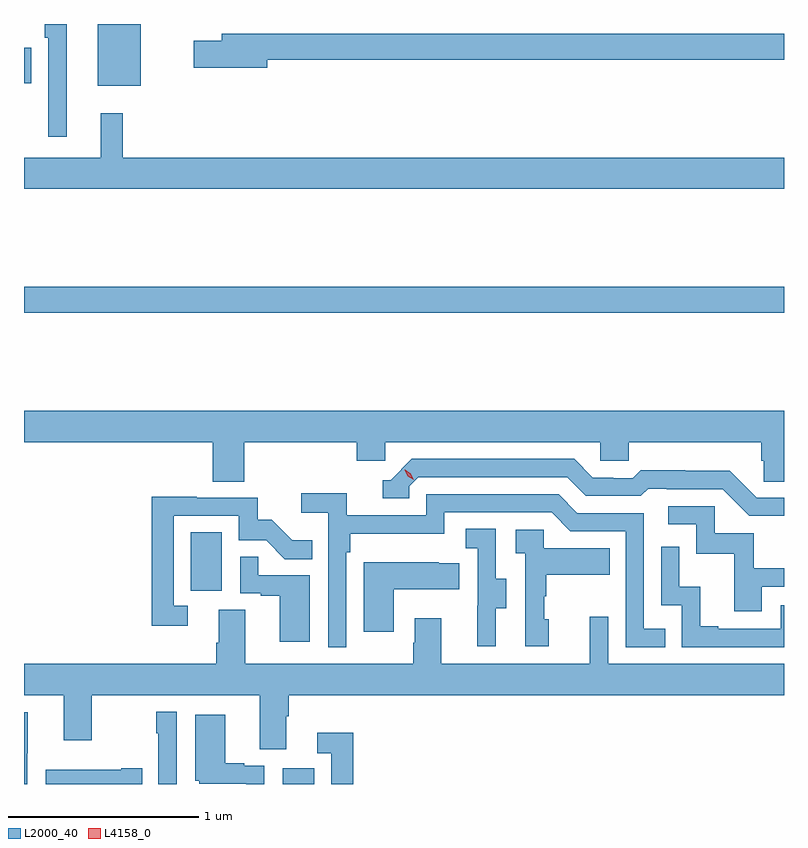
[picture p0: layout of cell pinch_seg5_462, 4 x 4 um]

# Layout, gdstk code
import gdstk
lib = gdstk.Library(unit=1e-6, precision=1e-09)
def R(c, l, rs):  # rectangles x0, y0, x1, y1
    for r in rs: c.add(gdstk.rectangle(r[:2], r[2:], *l))
def P(c, l, *ps):  # polygons
    for p in ps: c.add(gdstk.Polygon(p, *l))
L2000_40 = (2000, 40)
L4158_0 = (4158, 0)

pinch_seg5_462 = lib.new_cell('pinch_seg5_462')
R(pinch_seg5_462, L2000_40, [(902.402,856.292,902.566,856.375), (901.916,857.31,902.08,857.617), (901.039,858.772,905.039,858.908), (901.427,859.967,901.654,860.292), (901.039,859.979,901.078,860.167)])
P(pinch_seg5_462, L2000_40, [(901.264,860.292),(901.147,860.292),(901.147,860.219),(901.167,860.219),(901.167,859.698),(901.264,859.698)],
  [(902.32,860.104),(905.039,860.104),(905.039,860.24),(902.081,860.24),(902.081,860.204),(901.932,860.204),(901.932,860.062),(902.32,860.062)],
  [(905.039,859.588),(901.559,859.588),(901.559,859.822),(901.442,859.822),(901.442,859.588),(901.039,859.588),(901.039,859.424),(905.039,859.424)],
  [(902.198,858.092),(902.789,858.092),(902.789,857.994),(902.94,857.994),(902.94,858.092),(904.071,858.092),(904.071,857.994),(904.221,857.994),(904.221,858.092),(904.919,858.092),(904.919,857.994),(904.933,857.994),(904.933,857.884),(905.039,857.884),(905.039,858.256),(901.039,858.256),(901.039,858.092),(902.033,858.092),(902.033,857.884),(902.198,857.884)],
  [(905.039,857.799),(904.896,857.799),(904.754,857.941),(904.518,857.941),(904.518,857.944),(904.285,857.944),(904.243,857.901),(904.14,857.901),(904.14,857.904),(904.033,857.904),(903.934,858.003),(903.081,858.003),(902.97,857.892),(902.927,857.892),(902.927,857.796),(903.066,857.796),(903.066,857.859),(903.114,857.907),(903.897,857.907),(903.996,857.808),(904.285,857.808),(904.324,857.847),(904.423,857.847),(904.423,857.844),(904.716,857.844),(904.857,857.703),(905.039,857.703)],
  [(902.736,857.513),(902.756,857.513),(902.756,857.609),(903.252,857.609),(903.252,857.721),(903.816,857.721),(903.915,857.622),(904.206,857.622),(904.206,857.013),(904.415,857.013),(904.415,857.109),(904.302,857.109),(904.302,857.718),(903.952,857.718),(903.853,857.817),(903.156,857.817),(903.156,857.706),(902.738,857.706),(902.738,857.822),(902.499,857.822),(902.499,857.72),(902.64,857.72),(902.64,857.013),(902.736,857.013)],
  [(901.9,857.229),(901.827,857.229),(901.827,857.703),(902.169,857.703),(902.169,857.574),(902.313,857.574),(902.411,857.476),(902.555,857.476),(902.555,857.575),(902.451,857.575),(902.344,857.682),(902.268,857.682),(902.268,857.799),(901.949,857.799),(901.949,857.804),(901.711,857.804),(901.711,857.124),(901.9,857.124)],
  [(904.921,857.331),(905.039,857.331),(905.039,857.427),(904.879,857.427),(904.879,857.613),(904.674,857.613),(904.674,857.754),(904.431,857.754),(904.431,857.658),(904.578,857.658),(904.578,857.505),(904.777,857.505),(904.777,857.202),(904.921,857.202)],
  [(903.523,857.218),(903.577,857.218),(903.577,857.373),(903.522,857.373),(903.522,857.636),(903.363,857.636),(903.363,857.533),(903.426,857.533),(903.426,857.229),(903.425,857.229),(903.425,857.016),(903.523,857.016)],
  [(903.802,857.16),(903.777,857.16),(903.777,857.279),(903.787,857.279),(903.787,857.393),(904.121,857.393),(904.121,857.533),(903.774,857.533),(903.774,857.631),(903.627,857.631),(903.627,857.507),(903.678,857.507),(903.678,857.016),(903.802,857.016)],
  [(905.039,857.232),(905.022,857.232),(905.022,857.109),(904.693,857.109),(904.693,857.122),(904.598,857.122),(904.598,857.33),(904.488,857.33),(904.488,857.542),(904.392,857.542),(904.392,857.232),(904.5,857.232),(904.5,857.013),(905.039,857.013)],
  [(902.542,857.391),(902.273,857.391),(902.273,857.489),(902.178,857.489),(902.178,857.295),(902.285,857.295),(902.285,857.283),(902.384,857.283),(902.384,857.04),(902.542,857.04)],
  [(902.986,857.318),(903.329,857.318),(903.329,857.455),(903.221,857.455),(903.221,857.458),(902.828,857.458),(902.828,857.094),(902.986,857.094)],
  [(902.419,856.648),(902.432,856.648),(902.432,856.76),(905.039,856.76),(905.039,856.924),(904.113,856.924),(904.113,857.173),(904.016,857.173),(904.016,856.924),(903.235,856.924),(903.235,857.164),(903.095,857.164),(903.095,857.036),(903.088,857.036),(903.088,856.924),(902.203,856.924),(902.203,857.21),(902.063,857.21),(902.063,857.036),(902.051,857.036),(902.051,856.924),(901.039,856.924),(901.039,856.76),(901.247,856.76),(901.247,856.521),(901.395,856.521),(901.395,856.76),(902.279,856.76),(902.279,856.474),(902.419,856.474)],
  [(901.842,856.672),(901.734,856.672),(901.734,856.559),(901.746,856.559),(901.746,856.292),(901.842,856.292)],
  [(901.056,856.455),(901.058,856.455),(901.058,856.669),(901.039,856.669),(901.039,856.292),(901.056,856.292)],
  [(902.304,856.389),(902.198,856.389),(902.198,856.402),(902.098,856.402),(902.098,856.657),(901.94,856.657),(901.94,856.308),(901.962,856.308),(901.962,856.293),(902.209,856.293),(902.209,856.292),(902.304,856.292)],
  [(902.771,856.561),(902.583,856.561),(902.583,856.455),(902.655,856.455),(902.655,856.292),(902.771,856.292)],
  [(901.661,856.374),(901.55,856.374),(901.55,856.366),(901.153,856.366),(901.153,856.292),(901.661,856.292)])
P(pinch_seg5_462, L4158_0, [(903.09,857.893),(903.06,857.913),(903.044,857.946),(903.044,857.947),(903.045,857.947),(903.075,857.926),(903.09,857.893),(903.09,857.893)])

lib.write_gds('pinch_seg5_462.gds')
